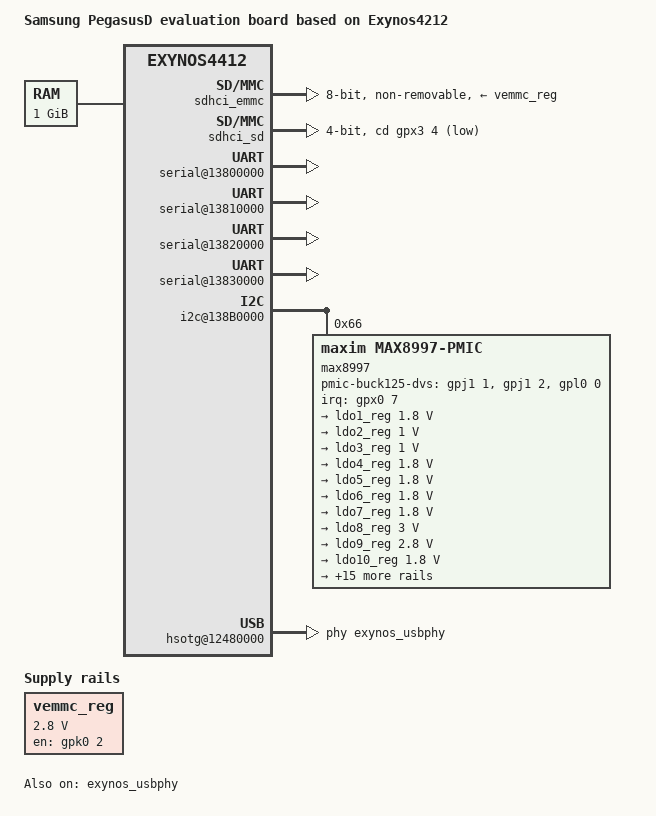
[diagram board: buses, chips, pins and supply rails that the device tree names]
/*
 * Samsung's Exynos4412 based SMDK board device tree source
 *
 * Copyright (c) 2012-2013 Samsung Electronics Co., Ltd.
 *		http://www.samsung.com
 *
 * Device tree source file for Samsung's SMDK4412 board which is based on
 * Samsung's Exynos4412 SoC.
 *
 * This program is free software; you can redistribute it and/or modify
 * it under the terms of the GNU General Public License version 2 as
 * published by the Free Software Foundation.
*/

/dts-v1/;
/include/ "exynos4212.dtsi"

/ {
	model = "Samsung PegasusD evaluation board based on Exynos4212";
	compatible = "samsung,slp_pd", "samsung,exynos4412";

	aliases {
	};

	memory {
		reg = <0x40000000 0x40000000>;

		reserved-memory {
			#address-cells = <1>;
			#size-cells = <1>;

			contig_mem: region@71000000 {
				compatible = "linux,contiguous-memory-region";
				reg = <0x71000000 0x0c000000>;
				linux,default-contiguous-region;
			};
		};
	};

	chosen {
		bootargs ="root=/dev/ram0 rw ramdisk=8192 initrd=0x41000000,8M console=ttySAC1,115200 init=/linuxrc";
	};

	vemmc_reg: voltage-regulator@0 {
	        compatible = "regulator-fixed";
		regulator-name = "VMEM_VDD_2.8V";
		regulator-min-microvolt = <2800000>;
		regulator-max-microvolt = <2800000>;
		gpio = <&gpk0 2 0>;
		enable-active-high;
	};

	mshc@12550000 {
		num-slots = <1>;
		supports-highspeed;
		broken-cd;
		non-removable;
		fifo-depth = <0x80>;
		card-detect-delay = <200>;
		clocks = <&clock 351>, <&clock 132>;
		clock-name = "biu", "ciu";
		vmmc-supply = <&vemmc_reg>;
		clock-frequency = <400000000>;
		samsung,dw-mshc-ciu-div = <0>;
		samsung,dw-mshc-sdr-timing = <2 3>;
		samsung,dw-mshc-ddr-timing = <1 2>;
		pinctrl-0 = <&sd4_clk &sd4_cmd &sd4_bus4 &sd4_bus8>;
		pinctrl-names = "default";
		status = "disabled";

		slot@0 {
			reg = <0>;
			bus-width = <8>;
		};
	};

	sdhci_emmc: sdhci@12510000 {
		bus-width = <8>;
		non-removable;
		pinctrl-0 = <&sd0_clk &sd0_cmd &sd0_bus8>;
		pinctrl-names = "default";
		vmmc-supply = <&vemmc_reg>;
		status = "okay";
	};

	sdhci_sd: sdhci@12530000 {
		bus-width = <4>;
		cd-gpios = <&gpx3 4 0>;
		cd-inverted;
		interrupts = <0 75 0>;
		pinctrl-0 = <&sd2_clk &sd2_cmd &sd2_bus4>;
		pinctrl-names = "default";
		status = "okay";
	};

	serial@13800000 {
		status = "okay";
	};

	serial@13810000 {
		status = "okay";
	};

	serial@13820000 {
		status = "okay";
	};

	serial@13830000 {
		status = "okay";
	};

	fixed-rate-clocks {
		xxti {
			compatible = "samsung,clock-xxti";
			clock-frequency = <0>;
		};

		xusbxti {
			compatible = "samsung,clock-xusbxti";
			clock-frequency = <24000000>;
		};
	};

	i2c@138B0000 {
		samsung,i2c-sda-delay = <100>;
		samsung,i2c-slave-addr = <0x10>;
		samsung,i2c-max-bus-freq = <100000>;
		pinctrl-0 = <&i2c5_bus>;
		pinctrl-names = "default";
		status = "okay";

		max8997: max8997_pmic@66 {
			compatible = "maxim,max8997-pmic";
			interrupt-parent = <&gpx0>;
			interrupts = <7 0>;
			reg = <0x66>;

			max8997,pmic-buck1-uses-gpio-dvs;
			max8997,pmic-buck2-uses-gpio-dvs;
			max8997,pmic-buck5-uses-gpio-dvs;

			max8997,pmic-ignore-gpiodvs-side-effect;
			max8997,pmic-buck125-default-dvs-idx = <0>;

			max8997,pmic-buck125-dvs-gpios = <&gpj1 1 0>,
							 <&gpj1 2 0>,
							 <&gpl0 0 0>;

			max8997,pmic-buck1-dvs-voltage = <1350000>, <1300000>,
							 <1250000>, <1200000>,
							 <1150000>, <1100000>,
							 <1000000>, <950000>;

			max8997,pmic-buck2-dvs-voltage = <1100000>, <1000000>,
							 <950000>,  <900000>,
							 <1100000>, <1000000>,
							 <950000>,  <900000>;

			max8997,pmic-buck5-dvs-voltage = <1200000>, <1200000>,
							 <1200000>, <1200000>,
							 <1200000>, <1200000>,
							 <1200000>, <1200000>;

			regulators {

				ldo1_reg: LDO1 {
					regulator-name = "VMIPI_1.8V_AP";
					regulator-min-microvolt = <1800000>;
					regulator-max-microvolt = <1800000>;
					regulator-always-on;
				};

				ldo2_reg: LDO2 {
					regulator-name = "VALIVE_1.0A_AP";
					regulator-min-microvolt = <1000000>;
					regulator-max-microvolt = <1000000>;
					regulator-always-on;
				};

				ldo3_reg: LDO3 {
					regulator-name = "VMPLL_1.0V_AP";
					regulator-min-microvolt = <1000000>;
					regulator-max-microvolt = <1000000>;
					regulator-always-on;
				};

				ldo4_reg: LDO4 {
					regulator-name = "VABB02_1.8V_AP";
					regulator-min-microvolt = <1800000>;
					regulator-max-microvolt = <1800000>;
					regulator-always-on;
				};

				ldo5_reg: LDO5 {
					regulator-name = "VABB1_1.8V_AP";
					regulator-min-microvolt = <1800000>;
					regulator-max-microvolt = <1800000>;
					regulator-always-on;
				};

				ldo6_reg: LDO6 {
					regulator-name = "VCC_1.8V_AP";
					regulator-min-microvolt = <1800000>;
					regulator-max-microvolt = <1800000>;
					regulator-always-on;
				};

				ldo7_reg: LDO7 {
					regulator-name = "CAM_ISP_1.8V";
					regulator-min-microvolt = <1800000>;
					regulator-max-microvolt = <1800000>;
					regulator-always-on;
				};

				ldo8_reg: LDO8 {
					regulator-name = "VUOTG_3.0V_AP";
					regulator-min-microvolt = <3000000>;
					regulator-max-microvolt = <3000000>;
				};

				ldo9_reg: LDO9 {
					regulator-name = "VCC_2.8V_AP";
					regulator-min-microvolt = <2800000>;
					regulator-max-microvolt = <2800000>;
				};

				ldo10_reg: LDO10 {
					regulator-name = "VPLL_1.0V_AP";
					regulator-min-microvolt = <1800000>;
					regulator-max-microvolt = <1800000>;
					regulator-always-on;
				};

				ldo11_reg: LDO11 {
					regulator-name = "VMIPI_1.0V_AP";
					regulator-min-microvolt = <1000000>;
					regulator-max-microvolt = <1000000>;
				};

				ldo12_reg: LDO12 {
					regulator-name = "VT_CAM_1.8";
					regulator-min-microvolt = <1800000>;
					regulator-max-microvolt = <1800000>;
				};

				ldo13_reg: LDO13 {
					regulator-name = "VCC_3.3V_LCD";
					regulator-min-microvolt = <3300000>;
					regulator-max-microvolt = <3300000>;
				};

				ldo14_reg: LDO14 {
					regulator-name = "VCC_1.8V_IO";
					regulator-min-microvolt = <1800000>;
					regulator-max-microvolt = <1800000>;
				};

				ldo15_reg: LDO15 {
					regulator-name = "LCD_VDD_2.2V";
					regulator-min-microvolt = <2200000>;
					regulator-max-microvolt = <2200000>;
				};

				ldo16_reg: LDO16 {
					regulator-name = "CAM_SENSOR_IO_1.8V";
					regulator-min-microvolt = <1800000>;
					regulator-max-microvolt = <1800000>;
				};

				ldo17_reg: LDO17 {
					regulator-name = "CAM_AF_2.8V";
					regulator-min-microvolt = <2800000>;
					regulator-max-microvolt = <2800000>;
					regulator-mem-idle;
				};

				ldo18_reg: LDO18 {
					regulator-name = "TSP_AVDD_3.3V";
					regulator-min-microvolt = <3300000>;
					regulator-max-microvolt = <3300000>;
				};

				vddq_reg: LDO21 {
				     regulator-name = "VM1M2_1.2V_AP";
				     regulator-min-microvolt = <1200000>;
				     regulator-max-microvolt = <1200000>;
				     regulator-always-on;
				};

				buck1_reg: BUCK1 {
					regulator-name = "vdd_arm";
					regulator-min-microvolt = <900000>;
					regulator-max-microvolt = <1350000>;
					regulator-always-on;
				};

				buck2_reg: BUCK2 {
					regulator-name = "vdd_int";
					regulator-min-microvolt = <900000>;
					regulator-max-microvolt = <1100000>;
					regulator-always-on;
				};

				buck3_reg: BUCK3 {
					regulator-name = "VG3D_1.0V_AP";
					regulator-min-microvolt = <850000>;
					regulator-max-microvolt = <1100000>;
					regulator-always-on;
				};

				buck4_reg: BUCK4 {
					regulator-name = "CAM_ISO_CORE_1.2V";
					regulator-min-microvolt = <1200000>;
					regulator-max-microvolt = <1200000>;
				};

				safe1_sreg: ESAFEOUT1 {
				     regulator-name = "SAFEOUT1";
				     regulator-always-on;
				};

				safe2_sreg: ESAFEOUT2 {
				     regulator-name = "SAFEOUT2";
				     regulator-boot-on;
				};

			};
		};
	};

	hsotg@12480000 {
		status = "okay";
		vusb_d-supply = <&ldo8_reg>;
		vusb_a-supply = <&ldo11_reg>;
		phys = <&exynos_usbphy 0>;
		phy-names = "device";
	};

	exynos_usbphy: exynos-usbphy@125B0000 {
		compatible = "samsung,exynos4212-usbphy";
		reg = <0x125B0000 0x100>, <0x10020704 0x0c>, <0x1001021c 0x4>;
		clocks = <&clock 305>, <&clock 2>, <&clock 2>, <&clock 2>,
								<&clock 2>;
		clock-names = "phy", "device", "host", "hsic0", "hsic1";
		status = "okay";
		#phy-cells = <1>;
	};
};
